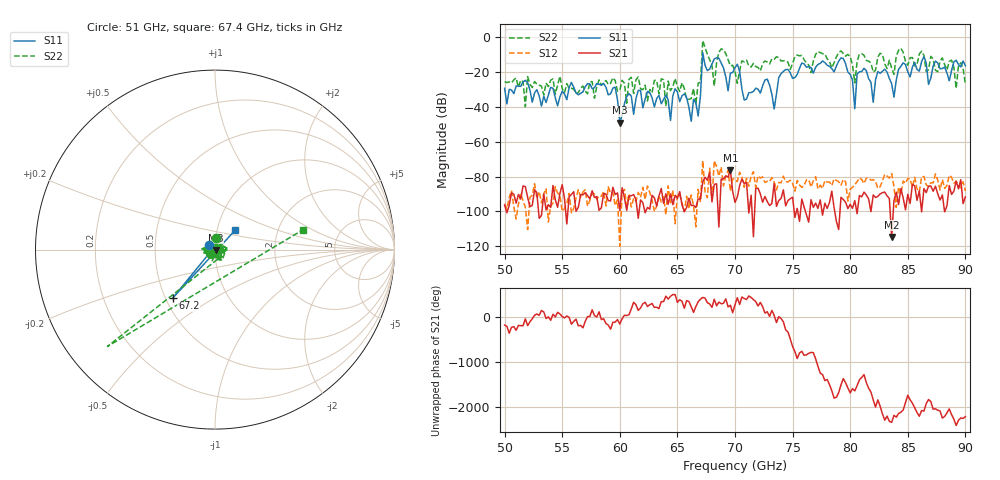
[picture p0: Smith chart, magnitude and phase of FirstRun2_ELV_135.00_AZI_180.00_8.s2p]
! 11/24/2026 3:22:58 PM
! C:\ANRITSUVNA\TEMP\TEMP.S2P
! CHANNEL.1
! TR.MEASUREMENT
! RAW.DATA
# HZ S RI R 50.0
! FREQ.HZ  S11RE  S11IM  S21RE  S21IM  S12RE  S12IM  S22RE  S22IM
!; PortSelection: Port_12
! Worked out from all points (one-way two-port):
!   201 points, 50 GHz to 90 GHz, reference 50 ohm
!   highest |S21| = -76.44 dB at 69.6 GHz (marker M1); lowest = -114.8 dB at 83.6 GHz (marker M2)
!   lowest |S11| = -49.0 dB at 60 GHz (marker M3), VSWR 1.01, Z = 50.3 - j0.146 ohm
!   |S11| at or under -10 dB: start of sweep to 67.19 GHz; 67.23 GHz to end of sweep
!   |S22| runs from -40.0 to -1.9 dB; largest |S21 - S12| = 0.00029
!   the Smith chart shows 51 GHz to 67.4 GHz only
!   S11 on the Smith chart (normalised r, x): 51 GHz: 0.94, +0.05; 67.2 GHz: 0.54, -0.34; 67.4 GHz: 1.22, +0.27
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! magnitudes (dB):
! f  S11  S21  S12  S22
! 50 GHz  -29.4  -96.5  -95.6  -25.6
! 51 GHz  -28.1  -95.3  -104.4  -23.4
! 56.8 GHz  -31.4  -90.5  -88.8  -28.0
! 59.6 GHz  -28.8  -90.3  -96.7  -25.0
! 60 GHz  -49.0  -99.5  -120.0  -30.5
! 63.4 GHz  -33.4  -91.2  -90.9  -32.6
! 66.8 GHz  -45.2  -92.9  -87.4  -26.4
! 67.2 GHz  -8.9  -83.0  -70.9  -1.9
! 67.4 GHz  -16.1  -80.4  -88.8  -5.9
! 68.2 GHz  -12.5  -84.5  -70.9  -28.1
! 68.8 GHz  -14.8  -81.5  -74.6  -6.7
! 69.6 GHz  -20.7  -76.4  -88.5  -16.4
! 70 GHz  -17.5  -94.9  -81.6  -19.9
! 73.4 GHz  -41.2  -83.9  -83.2  -12.6
! 74.2 GHz  -19.7  -87.7  -79.8  -13.5
! 76.8 GHz  -20.6  -97.7  -82.4  -13.7
! 79.4 GHz  -12.2  -93.2  -81.7  -9.4
! 80.4 GHz  -41.1  -93.8  -84.6  -26.2
! 80.6 GHz  -21.0  -101.4  -82.9  -14.0
! 83.4 GHz  -23.7  -92.7  -80.9  -13.2
! 83.6 GHz  -26.7  -114.8  -78.3  -17.7
! 90 GHz  -16.4  -91.7  -88.3  -27.1
